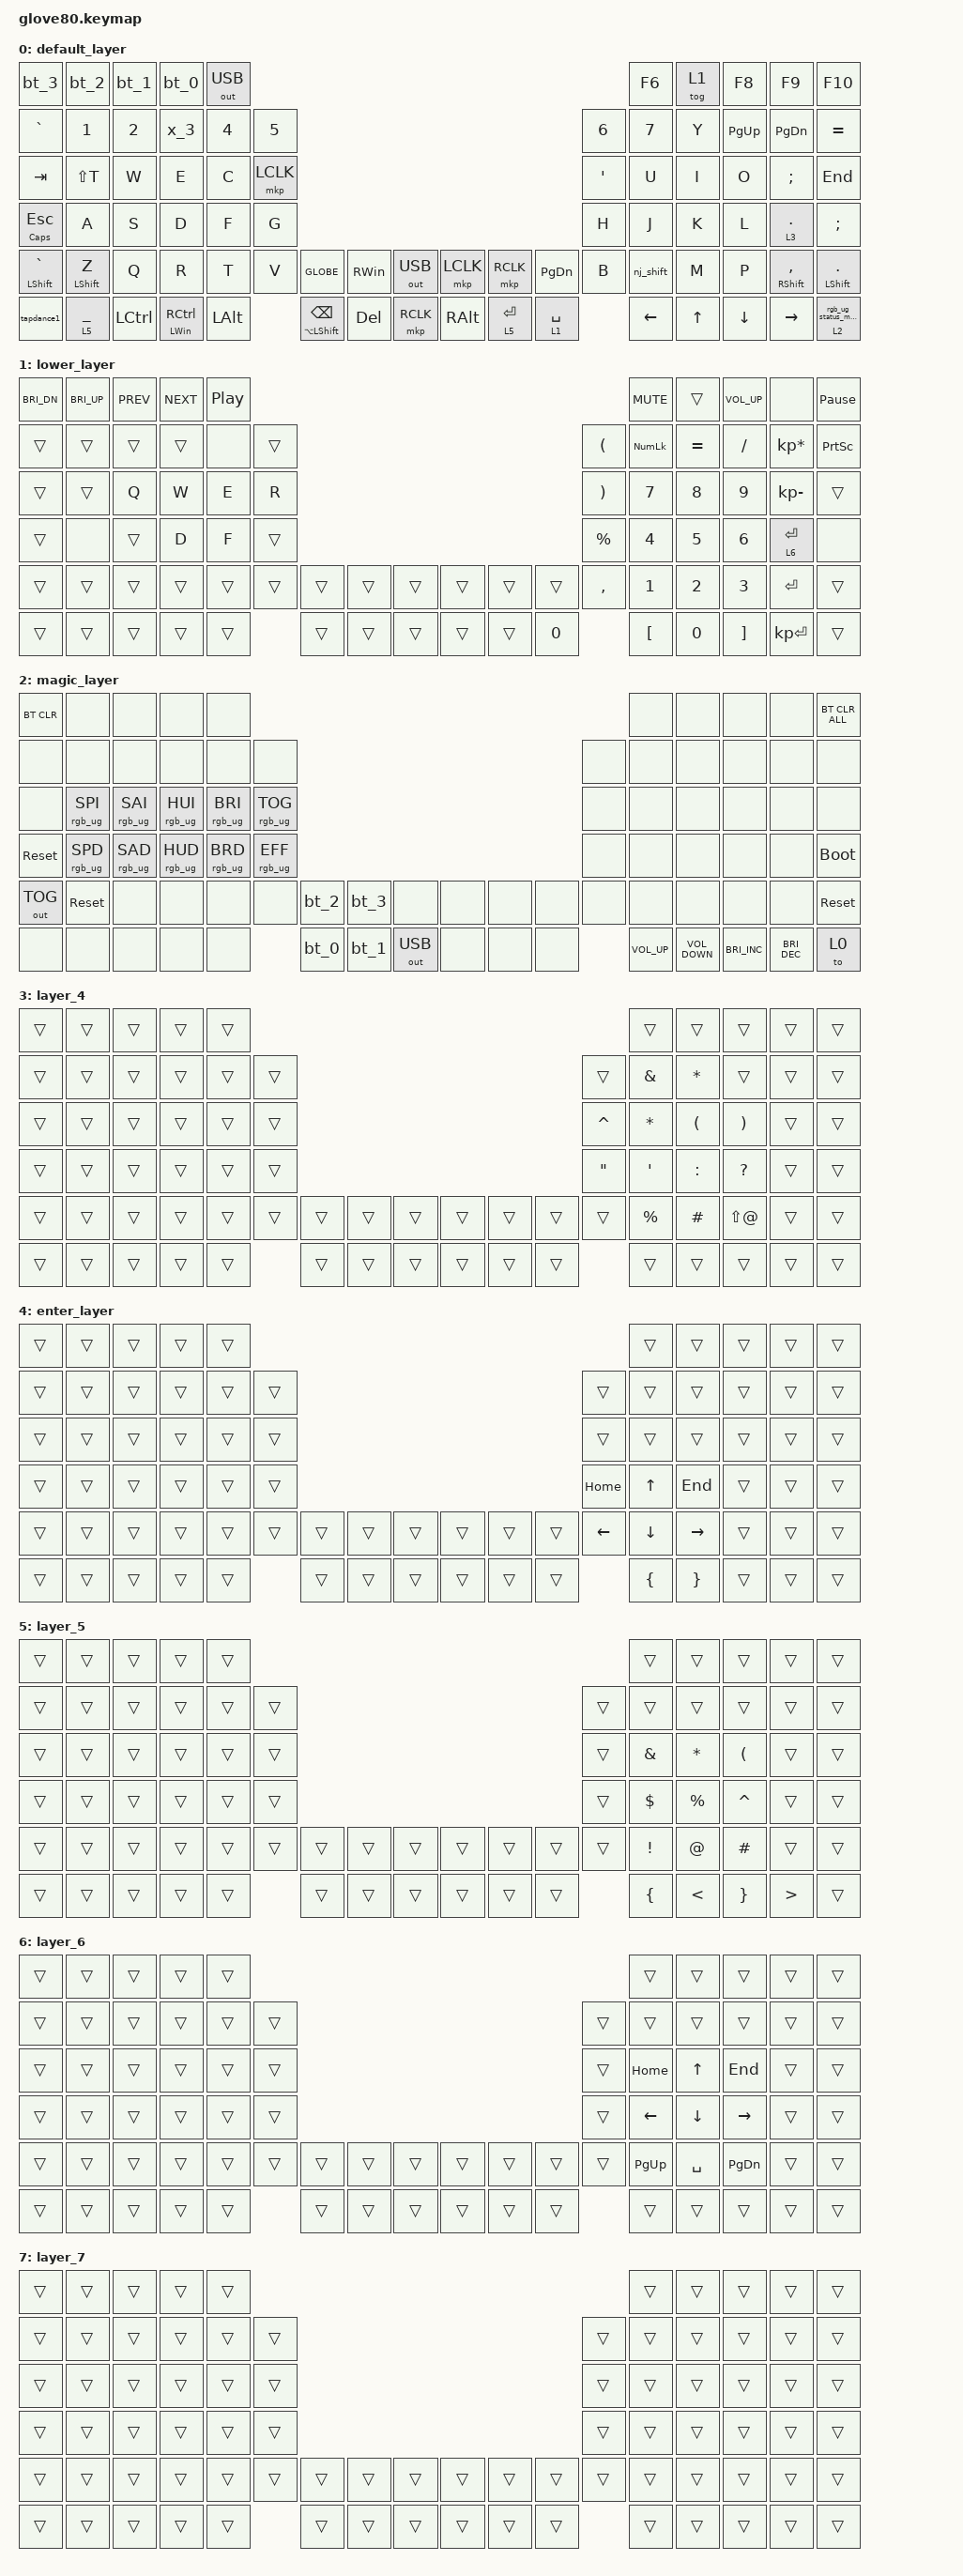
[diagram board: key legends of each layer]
/*
 * Copyright (c) 2020 The ZMK Contributors
 *
 * SPDX-License-Identifier: MIT
 */

#include <dt-bindings/zmk/mouse.h>
#include <behaviors.dtsi>
#include <dt-bindings/zmk/bt.h>
#include <dt-bindings/zmk/keys.h>
#include <dt-bindings/zmk/outputs.h>
#include <dt-bindings/zmk/pointing.h>
#include <dt-bindings/zmk/rgb.h>

#define HYPER LC(LS(LG(LALT)))

// layers

#define DEFAULT 0
#define LOWER 1
#define MAGIC 2
#define FACTORY_TEST 3

/ {
    behaviors {
        // For the "layer" key, it'd nice to be able to use it as either a shift or a toggle.
        // Configure it as a tap dance, so the first tap (or hold) is a &mo and the second tap is a &to

        layer_td: tap_dance_0 {
            compatible = "zmk,behavior-tap-dance";
            label = "LAYER_TAP_DANCE";
            #binding-cells = <0>;
            tapping-term-ms = <200>;
            bindings = <&mo 1>, <&to 1>;
        };

        magic: magic_hold_tap {
            compatible = "zmk,behavior-hold-tap";
            label = "MAGIC_HOLD_TAP";
            #binding-cells = <2>;
            flavor = "tap-preferred";
            tapping-term-ms = <200>;
            bindings = <&mo>, <&rgb_ug_status_macro>;
        };

        pht_right_shift1: pht_right_shift1 {
            compatible = "zmk,behavior-hold-tap";
            label = "PHT_RIGHT_SHIFT1";
            bindings = <&kp>, <&kp>;

            #binding-cells = <2>;
            tapping-term-ms = <200>;
            flavor = "hold-preferred";
            hold-trigger-key-positions = <59 60 61 43 42 41 29 30 31 77 76 75 62 63 45 44 28 40 58 16 17 19 18 74 73 57 56 11 12 13 14 23 24 25 26 35 36 37 38 48 49 50 39 15 27 51 50 51 52 53 69 70 71 10 46>;
        };

        Pht_Numberlayer: Pht_Numberlayer {
            compatible = "zmk,behavior-hold-tap";
            label = "PHT_NUMBERLAYER";
            bindings = <&mo>, <&kp>;

            #binding-cells = <2>;
            retro-tap;
            hold-trigger-key-positions = <75 76 77 61 60 59 41 42 43 31 30 29 62 47 78>;
            tapping-term-ms = <200>;
        };

        Pht_left_shift: Pht_left_shift {
            compatible = "zmk,behavior-hold-tap";
            label = "PHT_LEFT_SHIFT";
            #binding-cells = <2>;
            tapping-term-ms = <200>;
            flavor = "tap-preferred";
            hold-trigger-key-positions = <48 49 50 38 37 36 24 25 26 14 13 12 51 39 27 15 69 52 53 70 16 17 18 19 20 28 29 30 31 32 40 41 42 43 44 58 59 60 61 62 46 73 74>;
            bindings = <&kp>, <&kp>;
        };

        pht_right_semicolon: pht_right_semicolon {
            compatible = "zmk,behavior-hold-tap";
            label = "PHT_RIGHT_SEMICOLON";
            bindings = <&mo>, <&kp>;

            #binding-cells = <2>;
            tapping-term-ms = <200>;
            hold-trigger-key-positions = <44 43 42 30 31 41 32 20 19 18 17 29 28 40 58 59 59 62 47 46 63>;
            flavor = "hold-preferred";
            quick-tap-ms = <50>;
        };

        new_behavior: new_behavior {
            compatible = "zmk,behavior-tap-dance";
            label = "NEW_BEHAVIOR";
            #binding-cells = <0>;
            bindings = <&mo 3>, <&kp PRINTSCREEN>;
        };

        left_backspace: left_backspace {
            compatible = "zmk,behavior-hold-tap";
            label = "LEFT_BACKSPACE";
            bindings = <&kp>, <&kp>;

            #binding-cells = <2>;
            tapping-term-ms = <200>;
            flavor = "tap-preferred";
            quick-tap-ms = <175>;
            hold-trigger-key-positions = <1 11 12 13 14 15 23 24 25 26 27 35 36 37 38 39 47 48 49 50 51 66 67 68 5 6 7 17 18 19 29 30 31 8 16 17 18 19 20 28 29 30 31 32 40 41 42 43 44 58 59 60 61 62 75 76 77 78 9 21 73>;
        };

        tapdance1: tapdance1 {
            compatible = "zmk,behavior-tap-dance";
            label = "TAPDANCE1";
            #binding-cells = <0>;
            bindings = <&mo 2>, <&kp PAUSE_BREAK>, <&date_now>;
        };

        rightenter: rightenter {
            compatible = "zmk,behavior-hold-tap";
            label = "RIGHTENTER";
            bindings = <&mo>, <&kp>;

            #binding-cells = <2>;
            hold-trigger-key-positions = <58 60 59 75 76 42 41 40>;
            tapping-term-ms = <300>;
        };

        V_3: V_3 {
            compatible = "zmk,behavior-mod-morph";
            label = "V_3";
            bindings = <&kp V>, <&kp NUMBER_3>;

            #binding-cells = <0>;
            mods = <(MOD_LGUI|MOD_LSFT)>;
            keep-mods = <(MOD_LGUI|MOD_LSFT)>;
        };

        x_3: x_3 {
            compatible = "zmk,behavior-mod-morph";
            label = "X_3";
            bindings = <&kp X>, <&kp NUMBER_3>;

            #binding-cells = <0>;
            mods = <(MOD_LCTL|MOD_LSFT|MOD_LALT|MOD_LGUI)>;
            keep-mods = <(MOD_LSFT|MOD_LCTL|MOD_LALT|MOD_LGUI)>;
        };

        nj_shift: nj_shift {
            compatible = "zmk,behavior-mod-morph";
            label = "NJ_SHIFT";
            bindings = <&kp N>, <&right_nj>;

            #binding-cells = <0>;
            mods = <(MOD_RSFT)>;
        };
    };

    macros {
        rgb_ug_status_macro: rgb_ug_status_macro_0 {
            label = "RGB_UG_STATUS";
            compatible = "zmk,behavior-macro";
            #binding-cells = <0>;
            bindings = <&rgb_ug RGB_STATUS>;
        };

        bt_0: bt_profile_macro_0 {
            label = "BT_0";
            compatible = "zmk,behavior-macro";
            #binding-cells = <0>;
            bindings = <&out OUT_BLE &bt BT_SEL 0>;
        };

        bt_1: bt_profile_macro_1 {
            label = "BT_1";
            compatible = "zmk,behavior-macro";
            #binding-cells = <0>;
            bindings = <&out OUT_BLE &bt BT_SEL 1>;
        };

        bt_2: bt_profile_macro_2 {
            label = "BT_2";
            compatible = "zmk,behavior-macro";
            #binding-cells = <0>;
            bindings = <&out OUT_BLE &bt BT_SEL 2>;
        };

        bt_3: bt_profile_macro_3 {
            label = "BT_3";
            compatible = "zmk,behavior-macro";
            #binding-cells = <0>;
            bindings = <&out OUT_BLE &bt BT_SEL 3>;
        };

        right_nj: right_nj {
            compatible = "zmk,behavior-macro";
            #binding-cells = <0>;
            bindings = <&kp N &kp J>;
            label = "RIGHT_NJ";
            wait-ms = <5>;
            tap-ms = <5>;
        };

        date_now: date_now {
            compatible = "zmk,behavior-macro";
            #binding-cells = <0>;
            bindings = <&kp LA(LG(LS(SEMICOLON)))>;
            label = "DATE_NOW";
            tap-ms = <10>;
        };
    };

    combos {
        compatible = "zmk,combos";

        r_dot {
            bindings = <&kp DOT>;
            key-positions = <42 61>;
        };

        r_dot2 {
            bindings = <&kp DOT>;
            key-positions = <61 60>;
        };

        r_right {
            bindings = <&kp F18>;
            key-positions = <43 42>;
        };

        requal {
            bindings = <&kp EQUAL>;
            key-positions = <29 40>;
        };

        r_minus {
            bindings = <&kp MINUS>;
            key-positions = <41 58>;
        };

        r_ng {
            bindings = <&right_nj>;
            key-positions = <42 59>;
        };

        usb_toggle {
            bindings = <&out OUT_TOG>;
            key-positions = <70 73>;
        };

        leftins {
            bindings = <&kp INS>;
            key-positions = <26 39>;
        };

        f5 {
            bindings = <&kp F5>;
            key-positions = <31 30>;
            layers = <0>;
        };

        f2 {
            bindings = <&kp F2>;
            key-positions = <29 30>;
            layers = <0>;
        };

        home {
            bindings = <&kp HOME>;
            key-positions = <75 76>;
        };

        end {
            bindings = <&kp END>;
            key-positions = <76 77>;
        };

        pgup {
            bindings = <&kp PG_UP>;
            key-positions = <60 75>;
        };

        pgdn {
            bindings = <&kp PG_DN>;
            key-positions = <75 77>;
        };

        f7 {
            bindings = <&kp F7>;
            key-positions = <61 30>;
        };

        f4 {
            bindings = <&kp F4>;
            key-positions = <41 31>;
        };

        f6 {
            bindings = <&kp F6>;
            key-positions = <31 42>;
        };

        altf4 {
            bindings = <&kp LA(F4)>;
            key-positions = <24 25 26>;
        };

        ctrlz {
            bindings = <&kp RG(Z)>;
            key-positions = <38 36>;
        };

        ctrlshiftt {
            bindings = <&kp LS(RG(T))>;
            key-positions = <24 26 13>;
        };

        f8 {
            bindings = <&kp F8>;
            key-positions = <42 77>;
        };

        caps {
            bindings = <&kp CAPSLOCK>;
            key-positions = <46 63>;
        };

        backslash {
            bindings = <&kp BACKSLASH>;
            key-positions = <30 43>;
        };

        rightp {
            bindings = <&kp SLASH>;
            key-positions = <30 41>;
        };

        right_n {
            bindings = <&kp N>;
            key-positions = <38 39>;
        };

        right_m {
            bindings = <&kp M>;
            key-positions = <51 50>;
        };

        rightcrw {
            bindings = <&kp LG(LEFT_CONTROL)>;
            key-positions = <58 59>;
        };

        right_ctrlalt {
            bindings = <&kp LC(LEFT_ALT)>;
            key-positions = <41 43>;
        };

        ahffk {
            bindings = <&kp SQT>;
            key-positions = <60 41>;
        };

        f11 {
            bindings = <&kp F11>;
            key-positions = <7 8>;
        };

        f12 {
            bindings = <&kp F12>;
            key-positions = <9 8>;
        };

        ctrlc {
            bindings = <&kp LC(C)>;
            key-positions = <38 25>;
        };

        f3 {
            bindings = <&kp F3>;
            key-positions = <29 31>;
        };

        right_f1 {
            bindings = <&kp F1>;
            key-positions = <28 29>;
        };

        l_ctrlwin {
            bindings = <&kp LC(LEFT_WIN)>;
            key-positions = <67 66>;
        };

        ctrlalt_ {
            bindings = <&kp LC(LEFT_ALT)>;
            key-positions = <66 68>;
        };

        ctrl_v {
            bindings = <&kp RG(V)>;
            key-positions = <37 50>;
        };

        ctrlx {
            bindings = <&kp RG(X)>;
            key-positions = <26 13>;
        };

        left_boot {
            bindings = <&bootloader>;
            key-positions = <4 15>;
        };

        right_boot {
            bindings = <&bootloader>;
            key-positions = <5 16>;
        };

        ctrlaltwin {
            bindings = <&kp LA(LCTRL)>;
            key-positions = <58 60>;
        };

        numlock {
            bindings = <&kp KP_NUMLOCK>;
            key-positions = <50 49>;
        };

        leftmb2 {
            bindings = <&mkp MB2>;
            key-positions = <26 27>;
        };

        underbar {
            bindings = <&kp UNDERSCORE>;
            key-positions = <38 37>;
        };

        Copy {
            bindings = <&kp LG(C)>;
            key-positions = <38 25>;
        };
    };

    keymap {
        compatible = "zmk,keymap";

        default_layer {
            // ---------------------------------------------------------------------------------------------------------------------------------
            // |  F1   |  F2 |  F3 |  F4  |  F5  |                                                               |  F6   |  F7   |  F8  |   F9  |  F10 |
            // |  =    |  1  |  2  |  3   |  4   |  5   |                                                 |  6   |   7   |   8   |  9   |   0   |   -  |
            // |  TAB  |  Q  |  W  |  E   |  R   |  T   |                                                 |  Y   |   U   |   I   |  O   |   P   |   \  |
            // |  ESC  |  A  |  S  |  D   |  F   |  G   |                                                 |  H   |   J   |   K   |  L   |   ;   |   '  |
            // |   `   |  Z  |  X  |  C   |  V   |  B   | LSHFT | LCTRL | LOWER | | LGUI  | RCTRL | RSHFT |  N   |   M   |   ,   |  .   |   /   | PGUP |
            // | MAGIC | HOME| END | LEFT | RIGHT|      | BSPC  | DEL   | LALT  | | RALT  | RET   | SPACE |      |  UP   | DOWN  |  [   |   ]   | PGDN |

            bindings = <
&bt_3                 &bt_2                         &bt_1      &bt_0               &out OUT_USB                                                                                                                                                    &kp F6     &tog 1        &kp F8     &kp F9                         &kp F10
&kp GRAVE             &kp N1                        &kp N2     &x_3                &kp N4        &kp N5                                                                                                                                   &kp N6   &kp N7     &kp Y         &kp PG_UP  &kp PAGE_DOWN                  &kp EQUAL
&kp TAB               &kp LS(T)                     &kp W      &kp E               &kp C         &mkp LCLK                                                                                                                                &kp SQT  &kp U      &kp I         &kp O      &kp SEMI                       &kp END
&mt CAPSLOCK ESCAPE   &kp A                         &kp S      &kp D               &kp F         &kp G                                                                                                                                    &kp H    &kp J      &kp K         &kp L      &pht_right_semicolon 3 DOT     &kp SEMICOLON
&mt LEFT_SHIFT GRAVE  &Pht_left_shift LEFT_SHIFT Z  &kp Q      &kp R               &kp T         &kp V      &kp GLOBE                                 &kp RWIN    &out OUT_USB  &mkp LCLK  &mkp RCLK            &kp PG_DN                 &kp B    &nj_shift  &kp M         &kp P      &pht_right_shift1 RSHFT COMMA  &mt LEFT_SHIFT DOT
&tapdance1            &Pht_Numberlayer 5 UNDER      &kp LCTRL  &mt LEFT_WIN RCTRL  &kp LEFT_ALT             &left_backspace LA(LEFT_SHIFT) BACKSPACE  &kp DELETE  &mkp RCLK     &kp RALT   &rightenter 5 ENTER  &Pht_Numberlayer 1 SPACE           &kp LEFT   &kp UP_ARROW  &kp DOWN   &kp RIGHT                      &magic 2 0
            >;
        };

        lower_layer {
            bindings = <
&kp C_BRI_DN  &kp C_BRI_UP  &kp C_PREV  &kp C_NEXT  &kp C_PP                                                                     &kp C_MUTE        &trans        &kp C_VOL_UP       &none                         &kp PAUSE_BREAK
&trans        &trans        &trans      &trans      &none     &trans                                                  &kp LPAR   &kp KP_NUM        &kp EQUAL     &kp SLASH          &kp KP_MULTIPLY               &kp PSCRN
&trans        &trans        &kp Q       &kp W       &kp E     &kp R                                                   &kp RPAR   &kp N7            &kp N8        &kp N9             &kp KP_MINUS                  &trans
&trans        &none         &trans      &kp D       &kp F     &trans                                                  &kp PRCNT  &kp NUMBER_4      &kp N5        &kp NUMBER_6       &pht_right_semicolon 6 ENTER  &none
&trans        &trans        &trans      &trans      &trans    &trans  &trans  &trans  &trans  &trans  &trans  &trans  &kp COMMA  &kp N1            &kp NUMBER_2  &kp NUMBER_3       &kp ENTER                     &trans
&trans        &trans        &trans      &trans      &trans            &trans  &trans  &trans  &trans  &trans  &kp N0             &kp LEFT_BRACKET  &kp N0        &kp RIGHT_BRACKET  &kp KP_ENTER                  &trans
            >;
        };

        magic_layer {
            bindings = <
&bt BT_CLR    &none            &none            &none            &none                                                                                     &none            &none              &none                 &none                 &bt BT_CLR_ALL
&none         &none            &none            &none            &none            &none                                                             &none  &none            &none              &none                 &none                 &none
&none         &rgb_ug RGB_SPI  &rgb_ug RGB_SAI  &rgb_ug RGB_HUI  &rgb_ug RGB_BRI  &rgb_ug RGB_TOG                                                   &none  &none            &none              &none                 &none                 &none
&sys_reset    &rgb_ug RGB_SPD  &rgb_ug RGB_SAD  &rgb_ug RGB_HUD  &rgb_ug RGB_BRD  &rgb_ug RGB_EFF                                                   &none  &none            &none              &none                 &none                 &bootloader
&out OUT_TOG  &sys_reset       &none            &none            &none            &none            &bt_2  &bt_3  &none         &none  &none  &none  &none  &none            &none              &none                 &none                 &sys_reset
&none         &none            &none            &none            &none                             &bt_0  &bt_1  &out OUT_USB  &none  &none  &none         &kp C_VOLUME_UP  &kp C_VOLUME_DOWN  &kp C_BRIGHTNESS_INC  &kp C_BRIGHTNESS_DEC  &to 0
            >;
        };

        layer_4 {
            bindings = <
&trans  &trans  &trans  &trans  &trans                                                                             &trans            &trans                &trans                 &trans  &trans
&trans  &trans  &trans  &trans  &trans  &trans                                                  &trans             &kp AMPERSAND     &kp ASTRK             &trans                 &trans  &trans
&trans  &trans  &trans  &trans  &trans  &trans                                                  &kp CARET          &kp ASTRK         &kp LEFT_PARENTHESIS  &kp RIGHT_PARENTHESIS  &trans  &trans
&trans  &trans  &trans  &trans  &trans  &trans                                                  &kp DOUBLE_QUOTES  &kp SINGLE_QUOTE  &kp COLON             &kp QUESTION           &trans  &trans
&trans  &trans  &trans  &trans  &trans  &trans  &trans  &trans  &trans  &trans  &trans  &trans  &trans             &kp PERCENT       &kp HASH              &kp LS(AT_SIGN)        &trans  &trans
&trans  &trans  &trans  &trans  &trans          &trans  &trans  &trans  &trans  &trans  &trans                     &trans            &trans                &trans                 &trans  &trans
            >;
        };

        enter_layer {
            bindings = <
&trans  &trans  &trans  &trans  &trans                                                                          &trans          &trans           &trans  &trans  &trans
&trans  &trans  &trans  &trans  &trans  &trans                                                  &trans          &trans          &trans           &trans  &trans  &trans
&trans  &trans  &trans  &trans  &trans  &trans                                                  &trans          &trans          &trans           &trans  &trans  &trans
&trans  &trans  &trans  &trans  &trans  &trans                                                  &kp HOME        &kp UP_ARROW    &kp END          &trans  &trans  &trans
&trans  &trans  &trans  &trans  &trans  &trans  &trans  &trans  &trans  &trans  &trans  &trans  &kp LEFT_ARROW  &kp DOWN        &kp RIGHT        &trans  &trans  &trans
&trans  &trans  &trans  &trans  &trans          &trans  &trans  &trans  &trans  &trans  &trans                  &kp LEFT_BRACE  &kp RIGHT_BRACE  &trans  &trans  &trans
            >;
        };

        layer_5 {
            bindings = <
&trans  &trans  &trans  &trans  &trans                                                                  &trans           &trans         &trans                &trans            &trans
&trans  &trans  &trans  &trans  &trans  &trans                                                  &trans  &trans           &trans         &trans                &trans            &trans
&trans  &trans  &trans  &trans  &trans  &trans                                                  &trans  &kp AMPERSAND    &kp ASTERISK   &kp LEFT_PARENTHESIS  &trans            &trans
&trans  &trans  &trans  &trans  &trans  &trans                                                  &trans  &kp DOLLAR       &kp PERCENT    &kp CARET             &trans            &trans
&trans  &trans  &trans  &trans  &trans  &trans  &trans  &trans  &trans  &trans  &trans  &trans  &trans  &kp EXCLAMATION  &kp AT_SIGN    &kp HASH              &trans            &trans
&trans  &trans  &trans  &trans  &trans          &trans  &trans  &trans  &trans  &trans  &trans          &kp LEFT_BRACE   &kp LESS_THAN  &kp RIGHT_BRACE       &kp GREATER_THAN  &trans
            >;
        };

        layer_6 {
            bindings = <
&trans  &trans  &trans  &trans  &trans                                                                  &trans     &trans        &trans         &trans  &trans
&trans  &trans  &trans  &trans  &trans  &trans                                                  &trans  &trans     &trans        &trans         &trans  &trans
&trans  &trans  &trans  &trans  &trans  &trans                                                  &trans  &kp HOME   &kp UP_ARROW  &kp END        &trans  &trans
&trans  &trans  &trans  &trans  &trans  &trans                                                  &trans  &kp LEFT   &kp DOWN      &kp RIGHT      &trans  &trans
&trans  &trans  &trans  &trans  &trans  &trans  &trans  &trans  &trans  &trans  &trans  &trans  &trans  &kp PG_UP  &kp SPACE     &kp PAGE_DOWN  &trans  &trans
&trans  &trans  &trans  &trans  &trans          &trans  &trans  &trans  &trans  &trans  &trans          &trans     &trans        &trans         &trans  &trans
            >;
        };

        layer_7 {
            bindings = <
&trans  &trans  &trans  &trans  &trans                                                                  &trans  &trans  &trans  &trans  &trans
&trans  &trans  &trans  &trans  &trans  &trans                                                  &trans  &trans  &trans  &trans  &trans  &trans
&trans  &trans  &trans  &trans  &trans  &trans                                                  &trans  &trans  &trans  &trans  &trans  &trans
&trans  &trans  &trans  &trans  &trans  &trans                                                  &trans  &trans  &trans  &trans  &trans  &trans
&trans  &trans  &trans  &trans  &trans  &trans  &trans  &trans  &trans  &trans  &trans  &trans  &trans  &trans  &trans  &trans  &trans  &trans
&trans  &trans  &trans  &trans  &trans          &trans  &trans  &trans  &trans  &trans  &trans          &trans  &trans  &trans  &trans  &trans
            >;
        };
    };
};
